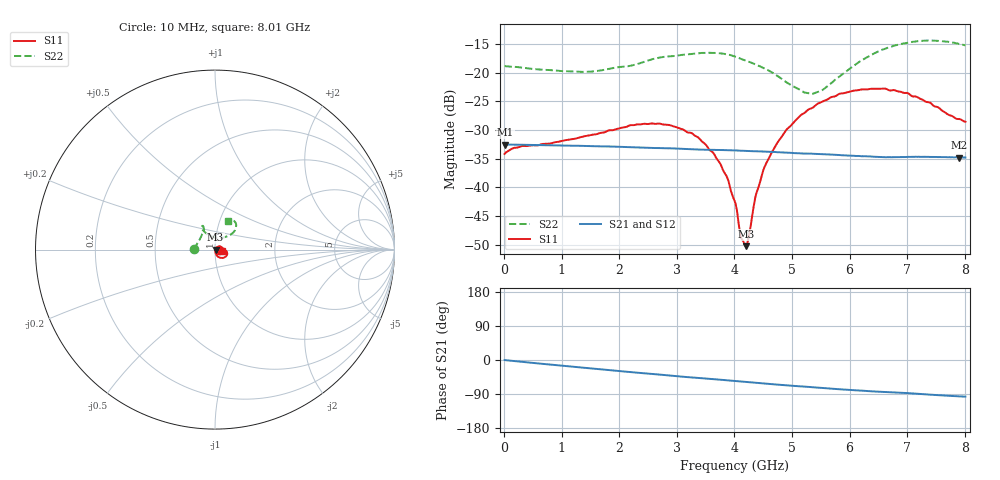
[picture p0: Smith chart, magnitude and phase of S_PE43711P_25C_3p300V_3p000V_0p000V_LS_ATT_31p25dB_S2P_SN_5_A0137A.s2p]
! Device ID: PE43711P
! File Path: z:\PE43711P\CHAR_NOM_04282014\AMB\3p300\LS_ATT_31p25dB\PE43711P_AMB_3p300V_3p000V_0p000V_LS_ATT_31p25dB_S2P_SN_5_A0137A.s2p
! Serial: 5
! Lot: A0137A
! Temp: 25C
! VDD: 3.300
! VSS: 0.000
! Control_Hi: 3.000
! Control_Lo: 0.000
! Attenuation Step: 31.25dB
! Port 1: RF1
! Port 2: RF2
! ThroughPath:1-2
! IDD: 0.0001281984
! ISS: -1.171e-007
#  Hz  S  RI  R  50
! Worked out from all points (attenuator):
!   801 points, 10 MHz to 8.01 GHz, reference 50 ohm
!   highest |S21| = -32.52 dB at 20 MHz (marker M1); lowest = -34.8 dB at 7.9 GHz (marker M2)
!   lowest |S11| = -50.2 dB at 4.2 GHz (marker M3), VSWR 1.01, Z = 50.3 - j0.124 ohm
!   |S11| at or under -10 dB: start of sweep to end of sweep
!   |S22| runs from -23.7 to -14.4 dB; largest |S21 - S12| = 0.0001
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1e7  0.0196 0.000555  0.0236 -6.17e-05  0.0237 -9.72e-05  -0.1147 0.000882
2e7  0.0199 0.000753  0.0236 -0.000139  0.0237 -0.000125  -0.1144 0.0015
3.1e8  0.0227 0.00313  0.0235 -0.00199  0.0235 -0.00199  -0.1104 0.0113
1.35e9  0.0267 0.00715  0.0217 -0.00784  0.0217 -0.00786  -0.0874 0.0523
2.68e9  0.032 0.0167  0.0173 -0.0136  0.0174 -0.0137  -0.0629 0.12
3.25e9  0.0236 0.0183  0.015 -0.0155  0.015 -0.0155  -0.0652 0.1304
3.49e9  0.0173 0.0166  0.0141 -0.016  0.0141 -0.016  -0.0691 0.1322
3.76e9  0.0102 0.0122  0.013 -0.0167  0.013 -0.0167  -0.0733 0.1283
3.88e9  0.00752 0.00935  0.0125 -0.0171  0.0125 -0.0171  -0.0741 0.1239
4.01e9  0.00518 0.00538  0.0119 -0.0174  0.0119 -0.0174  -0.0736 0.1176
4.12e9  0.00341 0.00115  0.0114 -0.0175  0.0114 -0.0176  -0.0705 0.1115
4.2e9  0.00282 -0.00123  0.011 -0.0177  0.011 -0.0177  -0.0676 0.1081
4.25e9  0.00223 -0.00301  0.0108 -0.0178  0.0108 -0.0177  -0.0655 0.1062
4.38e9  0.00176 -0.00869  0.0103 -0.018  0.0102 -0.0179  -0.0603 0.101
4.55e9  0.00278 -0.0159  0.00948 -0.0182  0.00951 -0.0182  -0.0524 0.0938
4.9e9  0.00872 -0.0305  0.00793 -0.0185  0.00793 -0.0185  -0.0297 0.0773
5.35e9  0.0243 -0.043  0.00615 -0.0187  0.00617 -0.0187  0.0106 0.0646
5.84e9  0.0473 -0.0459  0.00418 -0.0187  0.00414 -0.0187  0.0616 0.0714
6.68e9  0.0672 -0.0215  0.00171 -0.0183  0.00173 -0.0183  0.1156 0.12
7.29e9  0.057 -0.00441  -0.000111 -0.0185  -4.85e-05 -0.0185  0.1106 0.1556
7.9e9  0.0393 -0.00476  -0.00185 -0.0181  -0.0019 -0.0182  0.0777 0.1614
8.01e9  0.0368 -0.00646  -0.00211 -0.0181  -0.00218 -0.0181  0.0726 0.1576
